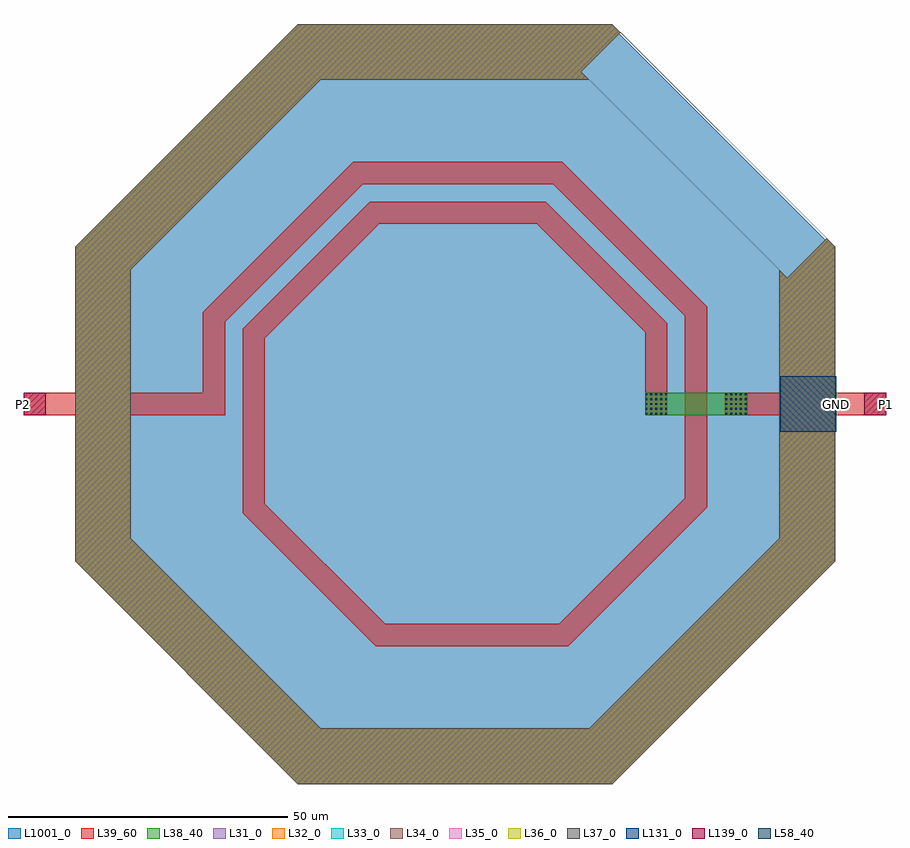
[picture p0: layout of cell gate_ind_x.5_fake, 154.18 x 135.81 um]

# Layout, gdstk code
import gdstk
lib = gdstk.Library(unit=1e-6, precision=1e-09)
def R(c, l, rs):  # rectangles x0, y0, x1, y1
    for r in rs: c.add(gdstk.rectangle(r[:2], r[2:], *l))
def A(c, l, x, y, w, h, nx, ny, dx, dy):  # array of equal rectangles
    R(c, l, [(x+i*dx, y+j*dy, x+i*dx+w, y+j*dy+h) for i in range(nx) for j in range(ny)])
def P(c, l, *ps):  # polygons
    for p in ps: c.add(gdstk.Polygon(p, *l))
L31_0 = (31, 0)
L32_0 = (32, 0)
L33_0 = (33, 0)
L34_0 = (34, 0)
L35_0 = (35, 0)
L36_0 = (36, 0)
L37_0 = (37, 0)
L38_40 = (38, 40)
L39_60 = (39, 60)
L58_40 = (58, 40)
L131_0 = (131, 0)
L139_0 = (139, 0)
L1001_0 = (1001, 0)

gate_ind_x_5_fake = lib.new_cell('gate_ind_x.5_fake')
P(gate_ind_x_5_fake, L31_0, [(59.371,22.521),(66.442,29.592),(28.128,67.907),(-28.128,67.907),(-67.907,28.128),(-67.907,-28.128),(-28.128,-67.907),(28.128,-67.907),(67.907,-28.128),(67.907,28.128),(29.592,66.442),(22.521,59.371),(57.907,23.986),(57.907,-23.986),(23.986,-57.907),(-23.986,-57.907),(-57.907,-23.986),(-57.907,23.986),(-23.986,57.907),(23.986,57.907)])
P(gate_ind_x_5_fake, L32_0, [(59.371,22.521),(66.442,29.592),(28.128,67.907),(-28.128,67.907),(-67.907,28.128),(-67.907,-28.128),(-28.128,-67.907),(28.128,-67.907),(67.907,-28.128),(67.907,28.128),(29.592,66.442),(22.521,59.371),(57.907,23.986),(57.907,-23.986),(23.986,-57.907),(-23.986,-57.907),(-57.907,-23.986),(-57.907,23.986),(-23.986,57.907),(23.986,57.907)])
P(gate_ind_x_5_fake, L33_0, [(59.371,22.521),(66.442,29.592),(28.128,67.907),(-28.128,67.907),(-67.907,28.128),(-67.907,-28.128),(-28.128,-67.907),(28.128,-67.907),(67.907,-28.128),(67.907,28.128),(29.592,66.442),(22.521,59.371),(57.907,23.986),(57.907,-23.986),(23.986,-57.907),(-23.986,-57.907),(-57.907,-23.986),(-57.907,23.986),(-23.986,57.907),(23.986,57.907)])
P(gate_ind_x_5_fake, L34_0, [(59.371,22.521),(66.442,29.592),(28.128,67.907),(-28.128,67.907),(-67.907,28.128),(-67.907,-28.128),(-28.128,-67.907),(28.128,-67.907),(67.907,-28.128),(67.907,28.128),(29.592,66.442),(22.521,59.371),(57.907,23.986),(57.907,-23.986),(23.986,-57.907),(-23.986,-57.907),(-57.907,-23.986),(-57.907,23.986),(-23.986,57.907),(23.986,57.907)])
P(gate_ind_x_5_fake, L35_0, [(59.371,22.521),(66.442,29.592),(28.128,67.907),(-28.128,67.907),(-67.907,28.128),(-67.907,-28.128),(-28.128,-67.907),(28.128,-67.907),(67.907,-28.128),(67.907,28.128),(29.592,66.442),(22.521,59.371),(57.907,23.986),(57.907,-23.986),(23.986,-57.907),(-23.986,-57.907),(-57.907,-23.986),(-57.907,23.986),(-23.986,57.907),(23.986,57.907)])
P(gate_ind_x_5_fake, L36_0, [(59.371,22.521),(66.442,29.592),(28.128,67.907),(-28.128,67.907),(-67.907,28.128),(-67.907,-28.128),(-28.128,-67.907),(28.128,-67.907),(67.907,-28.128),(67.907,28.128),(29.592,66.442),(22.521,59.371),(57.907,23.986),(57.907,-23.986),(23.986,-57.907),(-23.986,-57.907),(-57.907,-23.986),(-57.907,23.986),(-23.986,57.907),(23.986,57.907)])
P(gate_ind_x_5_fake, L37_0, [(59.371,22.521),(66.442,29.592),(28.128,67.907),(-28.128,67.907),(-67.907,28.128),(-67.907,-28.128),(-28.128,-67.907),(28.128,-67.907),(67.907,-28.128),(67.907,28.128),(29.592,66.442),(22.521,59.371),(57.907,23.986),(57.907,-23.986),(23.986,-57.907),(-23.986,-57.907),(-57.907,-23.986),(-57.907,23.986),(-23.986,57.907),(23.986,57.907)])
R(gate_ind_x_5_fake, L38_40, [(33.965,-2,52.215,2)])
P(gate_ind_x_5_fake, L38_40, [(59.371,22.521),(66.442,29.592),(28.128,67.907),(-28.128,67.907),(-67.907,28.128),(-67.907,-28.128),(-28.128,-67.907),(28.128,-67.907),(67.907,-28.128),(67.907,28.128),(29.592,66.442),(22.521,59.371),(57.907,23.986),(57.907,-23.986),(23.986,-57.907),(-23.986,-57.907),(-57.907,-23.986),(-57.907,23.986),(-23.986,57.907),(23.986,57.907)])
R(gate_ind_x_5_fake, L39_60, [(-77.09,-2,-41.09,2), (48.215,-2,77.09,2)])
P(gate_ind_x_5_fake, L39_60, [(33.965,-2),(37.965,-2),(37.965,14.468),(16.248,36.185),(-15.203,36.185),(-37.965,13.423),(-37.965,-19.503),(-14.158,-43.31),(20.244,-43.31),(45.09,-18.458),(45.09,17.418),(19.198,43.31),(-18.153,43.31),(-45.09,16.373),(-45.09,0),(-41.09,0),(-41.09,14.717),(-16.497,39.31),(17.542,39.31),(41.09,15.762),(41.09,-16.802),(18.586,-39.31),(-12.502,-39.31),(-33.965,-17.847),(-33.965,11.767),(-13.547,32.185),(14.592,32.185),(33.965,12.812)],
  [(59.371,22.521),(66.442,29.592),(28.128,67.907),(-28.128,67.907),(-67.907,28.128),(-67.907,-28.128),(-28.128,-67.907),(28.128,-67.907),(67.907,-28.128),(67.907,28.128),(29.592,66.442),(22.521,59.371),(57.907,23.986),(57.907,-23.986),(23.986,-57.907),(-23.986,-57.907),(-57.907,-23.986),(-57.907,23.986),(-23.986,57.907),(23.986,57.907)])
A(gate_ind_x_5_fake, L58_40, 34.05, -1.915, 0.35, 0.35, 5, 5, 0.87, 0.87)
A(gate_ind_x_5_fake, L58_40, 48.3, -1.915, 0.35, 0.35, 5, 5, 0.87, 0.87)
R(gate_ind_x_5_fake, L131_0, [(58.09,-5,68.09,5)])
R(gate_ind_x_5_fake, L139_0, [(-77.09,-2,-73.09,2), (73.09,-2,77.09,2)])
P(gate_ind_x_5_fake, L1001_0, [(67.526,27.97),(27.97,67.526),(-27.97,67.526),(-67.526,27.97),(-67.526,-27.97),(-27.97,-67.526),(27.97,-67.526),(67.526,-27.97)],
  [(67.526,27.97),(27.97,67.526),(-27.97,67.526),(-67.526,27.97),(-67.526,-27.97),(-27.97,-67.526),(27.97,-67.526),(67.526,-27.97)],
  [(67.526,27.97),(27.97,67.526),(-27.97,67.526),(-67.526,27.97),(-67.526,-27.97),(-27.97,-67.526),(27.97,-67.526),(67.526,-27.97)],
  [(67.526,27.97),(27.97,67.526),(-27.97,67.526),(-67.526,27.97),(-67.526,-27.97),(-27.97,-67.526),(27.97,-67.526),(67.526,-27.97)],
  [(67.526,27.97),(27.97,67.526),(-27.97,67.526),(-67.526,27.97),(-67.526,-27.97),(-27.97,-67.526),(27.97,-67.526),(67.526,-27.97)],
  [(67.526,27.97),(27.97,67.526),(-27.97,67.526),(-67.526,27.97),(-67.526,-27.97),(-27.97,-67.526),(27.97,-67.526),(67.526,-27.97)],
  [(67.526,27.97),(27.97,67.526),(-27.97,67.526),(-67.526,27.97),(-67.526,-27.97),(-27.97,-67.526),(27.97,-67.526),(67.526,-27.97)],
  [(67.526,27.97),(27.97,67.526),(-27.97,67.526),(-67.526,27.97),(-67.526,-27.97),(-27.97,-67.526),(27.97,-67.526),(67.526,-27.97)],
  [(67.526,27.97),(27.97,67.526),(-27.97,67.526),(-67.526,27.97),(-67.526,-27.97),(-27.97,-67.526),(27.97,-67.526),(67.526,-27.97)])
gate_ind_x_5_fake.add(gdstk.Label('P1', (77.09,0), layer=139, texttype=0))
gate_ind_x_5_fake.add(gdstk.Label('P2', (-77.09,0), layer=139, texttype=0))
gate_ind_x_5_fake.add(gdstk.Label('GND', (68.09,0), layer=131, texttype=0))

lib.write_gds('gate_ind_x.5_fake.gds')
